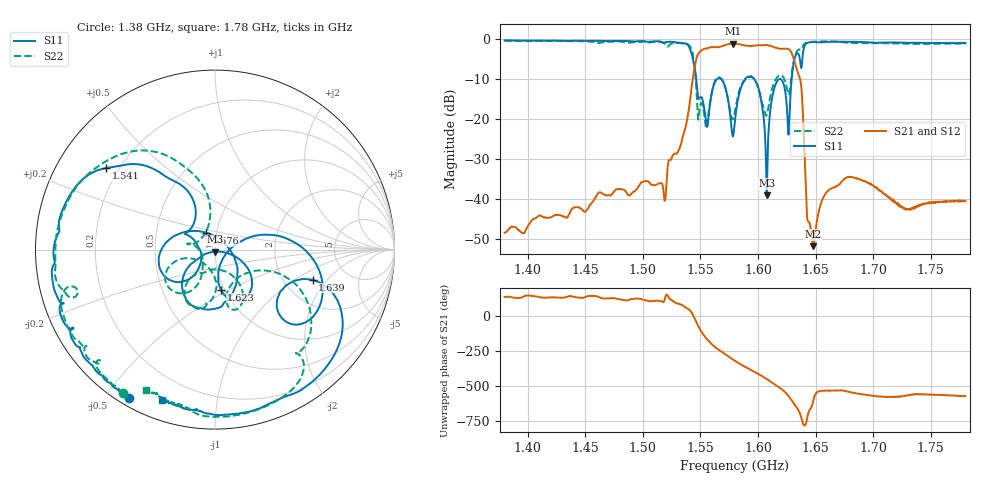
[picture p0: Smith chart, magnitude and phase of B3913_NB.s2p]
! Matrix data file written by TouchstoneData, EPCOS AG
! FILENAME: "LY31A_NB.snp"
! COMMENT: "(LY31A_1_NB.s2p) EPCOS AG 27.09.2010 09:56:4"
! INFO: nport=2, nfreq=1601
! DATE: "Tue Oct 19 15:52:06 2010"
! USER: "Michael Schemies"
! port | pin | signal
!  1  |  2  |  in
!  2  |  5  |  out
# MHZ S MA R 50
! freq  magS11 angS11  magS21 angS21  magS12 angS12  magS22 angS22
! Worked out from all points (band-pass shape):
!   1601 points, 1.38 GHz to 1.78 GHz, reference 50 ohm
!   highest |S21| = -1.14 dB at 1.578 GHz (marker M1); lowest = -51.7 dB at 1.648 GHz (marker M2)
!   |S21| within 3 dB of the highest: 1.547 GHz to 1.63 GHz (82.71 MHz wide, 5.21 % of centre)
!   lowest |S11| = -39.0 dB at 1.607 GHz (marker M3), VSWR 1.02, Z = 50 - j1.12 ohm
!   |S11| at or under -10 dB: 1.546 GHz to 1.564 GHz (18.18 MHz wide, 1.17 % of centre); 1.568 GHz to 1.589 GHz (20.82 MHz wide, 1.32 % of centre); 1.597 GHz to 1.619 GHz (21.92 MHz wide, 1.36 % of centre)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
!   |S22| runs from -22.3 to -0.4 dB; largest |S21 - S12| = 0.0014
!   S11 on the Smith chart (normalised r, x): 1.38 GHz: 0.03, -0.58; 1.541 GHz: 0.15, +0.33; 1.576 GHz: 0.89, +0.17; 1.623 GHz: 0.96, -0.45; 1.639 GHz: 2.86, -1.42; 1.78 GHz: 0.09, -0.71
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1380  0.9562 -119.9  0.00383 136.6  0.003825 136.5  0.9506 -122.7
1446.75  0.9486 -130.6  0.007577 130.1  0.007593 130.2  0.9363 -133.2
1513.5  0.9348 -156.6  0.01568 109.6  0.01569 109.5  0.919 -157.7
1540.75  0.7564 143.1  0.1621 42.6  0.1623 42.6  0.8124 147.1
1550  0.1877 152.0  0.7023 -100.6  0.7021 -100.6  0.1526 169.0
1558.25  0.1526 -129.8  0.7848 172.3  0.7849 172.3  0.1593 -117.8
1567.5  0.3201 -168.2  0.8015 109.2  0.8018 109.3  0.3249 -148.5
1576  0.1057 117.2  0.8715 61.3  0.8723 61.3  0.1222 -153.5
1578  0.06118 55.8  0.8766 50.1  0.8772 50.1  0.09925 -123.8
1580  0.09542 -10.5  0.8734 39.2  0.8741 39.2  0.1269 -97.7
1595.75  0.3281 -117.0  0.8224 -32.8  0.8228 -32.8  0.324 -119.9
1607.5  0.01118 -87.1  0.841 -89.7  0.841 -89.8  0.1121 -81.4
1614.75  0.26 -38.2  0.7809 -129.7  0.782 -129.7  0.3016 -59.0
1623.5  0.2254 -81.7  0.7561 175.7  0.7565 175.7  0.2962 -77.7
1630  0.4103 8.2  0.6224 106.9  0.6226 106.9  0.4376 -21.6
1638.5  0.5688 -17.1  0.1592 -37.1  0.1592 -37.1  0.7878 -51.6
1642.75  0.8902 -42.6  0.005705 -4.4  0.005717 -4.5  0.903 -65.1
1646.75  0.9154 -55.3  0.003271 77.7  0.003275 77.6  0.9202 -73.2
1648  0.9177 -58.2  0.002606 114.7  0.002633 114.6  0.9225 -75.2
1676.5  0.922 -86.1  0.01852 -176.9  0.01855 -177.0  0.9002 -99.0
1713.5  0.9028 -99.0  0.01057 141.2  0.01057 141.3  0.8818 -108.5
1780  0.8897 -109.3  0.009471 146.8  0.009448 146.7  0.8727 -116.2
